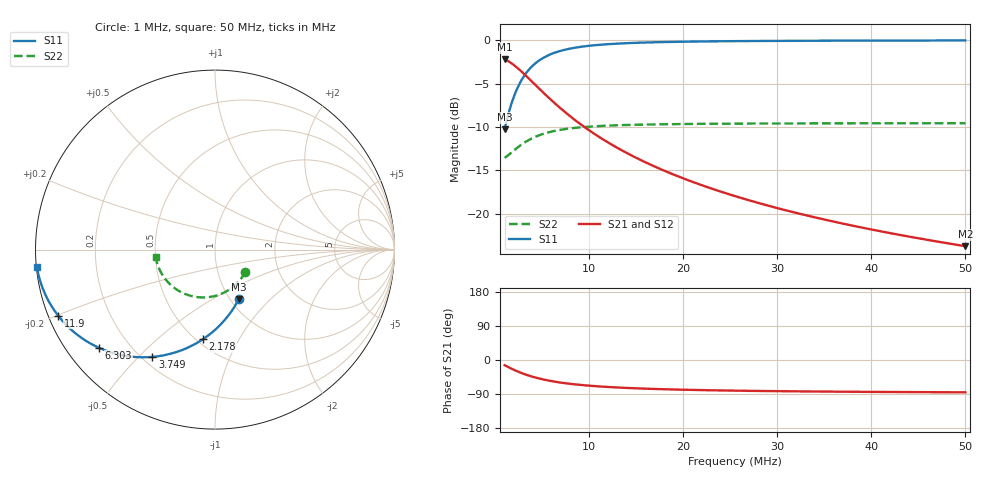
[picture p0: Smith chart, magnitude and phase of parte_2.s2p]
# MHz S RI R 50
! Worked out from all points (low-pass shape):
!   500 points, 1 MHz to 50 MHz, reference 50 ohm
!   highest |S21| = -2.19 dB at 1 MHz (marker M1); lowest = -23.7 dB at 50 MHz (marker M2)
!   |S21| within 3 dB of the highest: start of sweep to 4.309 MHz
!   lowest |S11| = -10.3 dB at 1 MHz (marker M3), VSWR 1.89, Z = 54.5 - j33.4 ohm
!   |S11| at or under -10 dB: start of sweep to 1.054 MHz
!   |S22| runs from -13.6 to -9.6 dB; largest |S21 - S12| = 2.6e-16
!   S11 on the Smith chart (normalised r, x): 1 MHz: 1.09, -0.67; 2.178 MHz: 0.54, -0.72; 3.749 MHz: 0.24, -0.55; 6.303 MHz: 0.09, -0.36; 11.9 MHz: 0.03, -0.20; 50 MHz: 0.00, -0.05
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1  0.132 -0.2774  0.7547 -0.1849  0.7547 -0.1849  0.1698 -0.1233
1.196393  0.105 -0.324  0.7367 -0.216  0.7367 -0.216  0.1578 -0.144
1.392786  0.0748 -0.3668  0.7165 -0.2445  0.7165 -0.2445  0.1444 -0.163
1.785571  0.00718 -0.4407  0.6715 -0.2938  0.6715 -0.2938  0.1143 -0.1959
2.178357  -0.0661 -0.4985  0.6226 -0.3323  0.6226 -0.3323  0.0817 -0.2216
2.865731  -0.1963 -0.5644  0.5358 -0.3762  0.5358 -0.3762  0.0239 -0.2508
3.258517  -0.2672 -0.5851  0.4885 -0.3901  0.4885 -0.3901  -0.00765 -0.2601
3.749499  -0.3493 -0.5979  0.4338 -0.3986  0.4338 -0.3986  -0.0441 -0.2657
4.338677  -0.4367 -0.5989  0.3755 -0.3993  0.3755 -0.3993  -0.083 -0.2662
4.927856  -0.5118 -0.5895  0.3254 -0.393  0.3254 -0.393  -0.1164 -0.262
5.61523  -0.5853 -0.5707  0.2765 -0.3805  0.2765 -0.3805  -0.149 -0.2536
6.302605  -0.6455 -0.5475  0.2363 -0.365  0.2363 -0.365  -0.1758 -0.2433
7.677355  -0.7356 -0.4973  0.1762 -0.3316  0.1762 -0.3316  -0.2158 -0.221
9.248497  -0.8044 -0.4432  0.1304 -0.2955  0.1304 -0.2955  -0.2464 -0.197
11.8998  -0.8737 -0.3682  0.0842 -0.2455  0.0842 -0.2455  -0.2772 -0.1637
14.35471  -0.9103 -0.3156  0.0598 -0.2104  0.0598 -0.2104  -0.2935 -0.1403
17.3988  -0.9374 -0.2668  0.0417 -0.1779  0.0417 -0.1779  -0.3055 -0.1186
21.22846  -0.9572 -0.2225  0.0285 -0.1483  0.0285 -0.1483  -0.3143 -0.0989
25.5491  -0.9701 -0.1869  0.0199 -0.1246  0.0199 -0.1246  -0.3201 -0.0831
33.6994  -0.9827 -0.1432  0.0116 -0.0955  0.0116 -0.0955  -0.3256 -0.0637
41.8497  -0.9887 -0.1159  0.00754 -0.0773  0.00754 -0.0773  -0.3283 -0.0515
50  -0.9921 -0.0973  0.00529 -0.0649  0.00529 -0.0649  -0.3298 -0.0432
